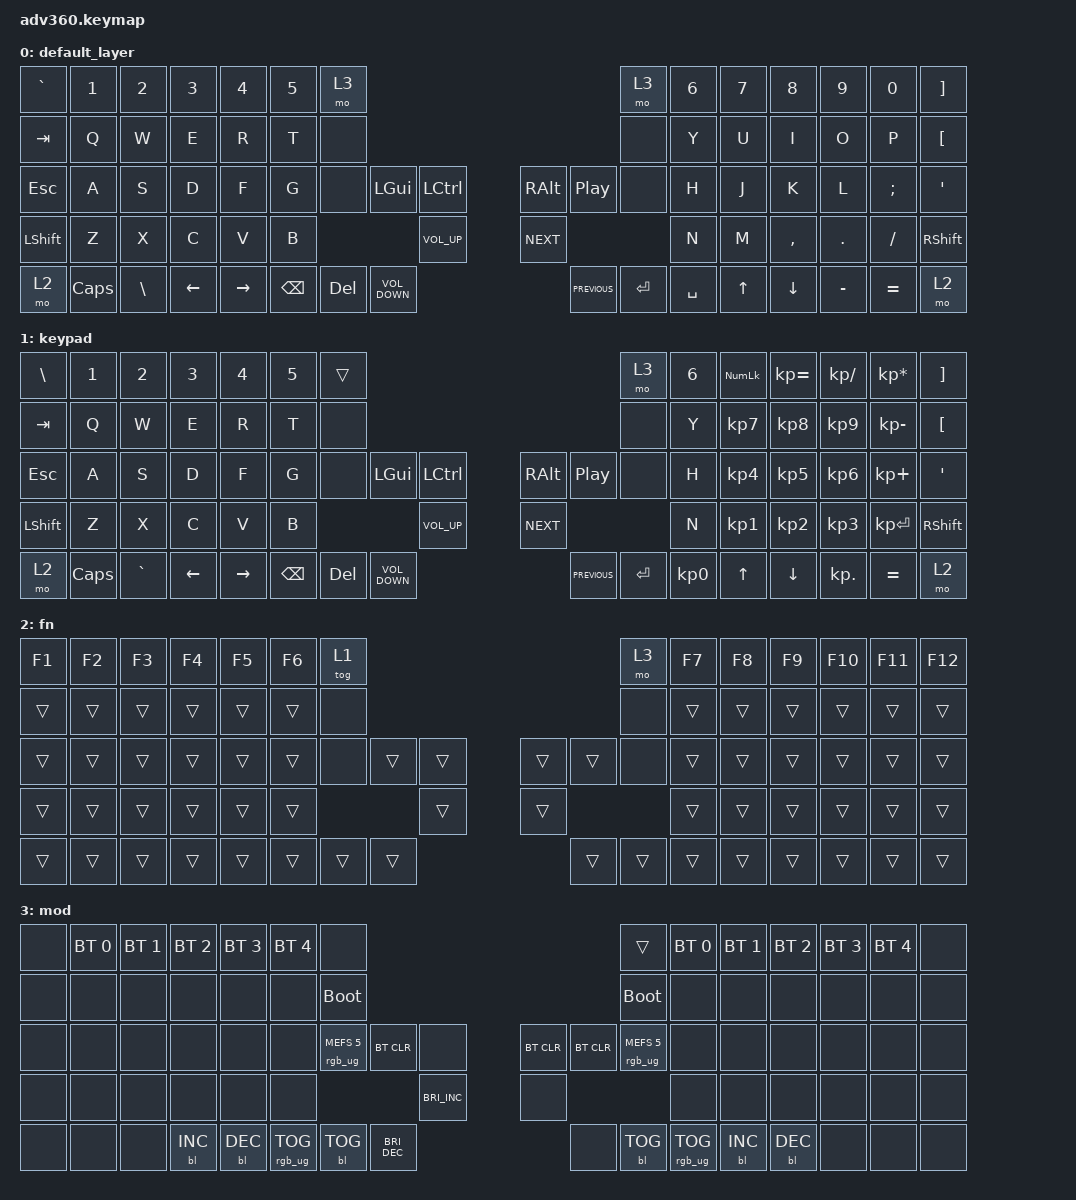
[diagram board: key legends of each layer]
#include <behaviors.dtsi>
#include <dt-bindings/zmk/keys.h>
#include <dt-bindings/zmk/bt.h>
#include <dt-bindings/zmk/rgb.h>
#include <dt-bindings/zmk/backlight.h>

/ {
    behaviors {
      #include "macros.dtsi"
      #include "version.dtsi"
      #ifndef VERSION_MACRO
      macro_ver: macro_ver {
        compatible = "zmk,behavior-macro";
        label = "macro_version";
        #binding-cells = <0>;
        bindings = <&kp RET>;
      };
      #endif

      hm: homerow_mods {
          compatible = "zmk,behavior-hold-tap";
          label = "HOMEROW_MODS";
          #binding-cells = <2>;
          tapping-term-ms = <200>;
          quick_tap_ms = <175>;
          flavor = "tap-preferred";
          bindings = <&kp>, <&kp>;
      };
    };

    keymap {
        compatible = "zmk,keymap";

        default_layer {
            bindings = <
                &kp GRAVE &kp N1   &kp N2   &kp N3   &kp N4 &kp N5 &mo 3                                                                            &mo 3 &kp N6 &kp N7 &kp N8    &kp N9    &kp N0    &kp RBKT
                &kp TAB   &kp Q    &kp W    &kp E    &kp R  &kp T  &none                                                                            &none &kp Y  &kp U  &kp I     &kp O     &kp P     &kp LBKT
                &kp ESC   &kp A    &kp S    &kp D    &kp F  &kp G  &none         &kp LGUI &kp LCTRL          &kp RALT &kp C_PLAY_PAUSE              &none &kp H  &kp J  &kp K     &kp L     &kp SEMI  &kp SQT
                &kp LSHFT &kp Z    &kp X    &kp C    &kp V  &kp B                         &kp C_VOLUME_UP    &kp C_NEXT                                   &kp N  &kp M  &kp COMMA &kp DOT   &kp FSLH  &kp RSHFT
                &mo 2     &kp CAPS &kp BSLH &kp LEFT &kp RIGHT           &kp BSPC &kp DEL &kp C_VOLUME_DOWN  &kp C_PREVIOUS &kp ENTER &kp SPACE                  &kp UP &kp DOWN  &kp MINUS &kp EQUAL &mo 2
            >;
        };

        keypad {
            bindings = <
                &kp BSLH &kp N1 &kp N2 &kp N3 &kp N4 &kp N5 &trans                                                                                  &mo 3 &kp N6 &kp KP_NUM &kp KP_EQUAL &kp KP_DIVIDE &kp KP_MULTIPLY &kp RBKT
                &kp TAB  &kp Q  &kp W  &kp E  &kp R  &kp T  &none                                                                                   &none &kp Y  &kp KP_N7  &kp KP_N8    &kp KP_N9     &kp KP_MINUS    &kp LBKT
                &kp ESC  &kp A  &kp S  &kp D  &kp F  &kp G  &none                &kp LGUI &kp LCTRL &kp RALT &kp C_PLAY_PAUSE                       &none &kp H  &kp KP_N4  &kp KP_N5    &kp KP_N6     &kp KP_PLUS     &kp SQT
                &kp LSHFT &kp Z &kp X &kp C &kp V &kp B                                   &kp C_VOLUME_UP    &kp C_NEXT                                   &kp N  &kp KP_N1  &kp KP_N2    &kp KP_N3     &kp KP_ENTER    &kp RSHFT
                &mo 2 &kp CAPS &kp GRAVE &kp LEFT &kp RIGHT            &kp BSPC  &kp DEL  &kp C_VOLUME_DOWN  &kp C_PREVIOUS &kp ENTER &kp KP_N0                  &kp UP     &kp DOWN     &kp KP_DOT    &kp EQUAL       &mo 2
            >;
        };

        fn {
            bindings = <
                &kp F1  &kp F2  &kp F3  &kp F4  &kp F5  &kp F6  &tog 1                                         &mo 3  &kp F7 &kp F8 &kp F9 &kp F10 &kp F11 &kp F12
                &trans  &trans  &trans  &trans  &trans  &trans  &none                                          &none  &trans &trans &trans &trans  &trans  &trans
                &trans  &trans  &trans  &trans  &trans  &trans  &none       &trans &trans &trans &trans        &none  &trans &trans &trans &trans  &trans  &trans
                &trans  &trans  &trans  &trans  &trans  &trans                     &trans &trans                      &trans &trans &trans &trans  &trans  &trans
                &trans  &trans  &trans  &trans  &trans               &trans &trans &trans &trans &trans &trans               &trans &trans &trans  &trans  &trans
            >;
        };

        mod {
            bindings = <
                &none &bt BT_SEL 0 &bt BT_SEL 1 &bt BT_SEL 2 &bt BT_SEL 3 &bt BT_SEL 4  &none                                                                                                             &trans                 &bt BT_SEL 0 &bt BT_SEL 1 &bt BT_SEL 2 &bt BT_SEL 3 &bt BT_SEL 4 &none
                &none &none        &none        &none        &none        &none         &bootloader                                                                                                       &bootloader            &none        &none        &none        &none        &none        &none
                &none &none        &none        &none        &none        &none         &rgb_ug RGB_MEFS_CMD 5                                 &bt BT_CLR &none &bt BT_CLR &bt BT_CLR                     &rgb_ug RGB_MEFS_CMD 5 &none        &none        &none        &none        &none        &none
                &none &none        &none        &none        &none        &none                                                            &kp C_BRIGHTNESS_INC &none                                                            &none        &none        &none        &none        &none        &none
                &none &none        &none        &bl BL_INC   &bl BL_DEC                                         &rgb_ug RGB_TOG &bl BL_TOG &kp C_BRIGHTNESS_DEC &none      &bl BL_TOG  &rgb_ug RGB_TOG                                        &bl BL_INC   &bl BL_DEC   &none        &none        &none
            >;
        };

    };
};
